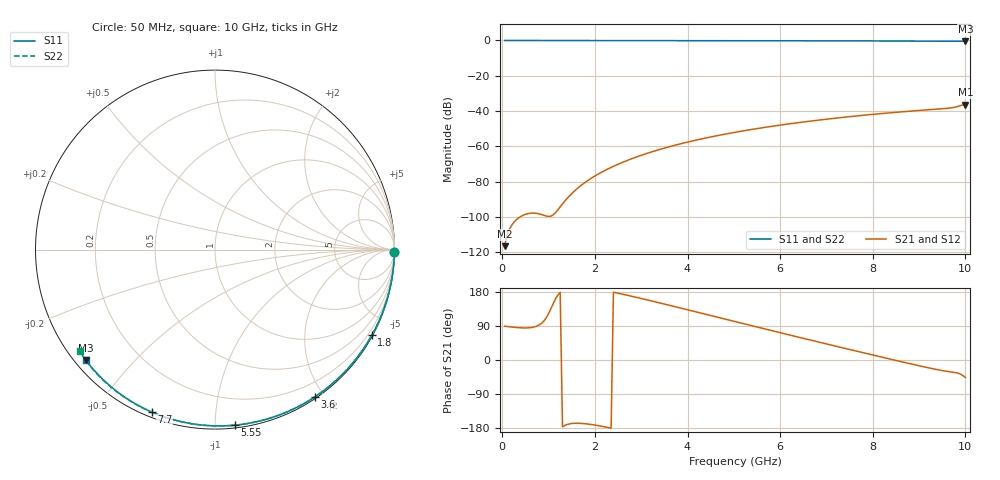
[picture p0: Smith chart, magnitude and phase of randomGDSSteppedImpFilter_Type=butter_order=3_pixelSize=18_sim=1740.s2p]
! freq	dB(S11)	phase(S11)	dB(S12)	phase(S12)
!  dB(S21)	phase(S21)	dB(S22)	phase(S22)
!S-par simulation data
#  GHz  S  DB  R 50
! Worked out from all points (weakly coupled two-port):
!   200 points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, 50 MHz to 10 GHz, reference 50 ohm
!   highest |S21| = -36.39 dB at 10 GHz (marker M1); lowest = -116.7 dB at 50 MHz (marker M2)
!   lowest |S11| = -0.5 dB at 10 GHz (marker M3), VSWR 37.51, Z = 1.51 - j18.4 ohm
!   |S11| at or under -10 dB: nowhere
!   |S22| runs from -0.5 to 0.0 dB; largest |S21 - S12| = 0
!   S11 on the Smith chart (normalised r, x): 50 MHz: open; 1.8 GHz: 0.03, -3.91; 3.6 GHz: 0.02, -1.88; 5.55 GHz: 0.02, -1.12; 7.7 GHz: 0.02, -0.68; 10 GHz: 0.03, -0.37
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0.05  -0.00 -0.8  -116.67 89.2  -116.67 89.2  -0.00 -0.8
0.5  -0.01 -8.1  -98.62 84.5  -98.62 84.5  -0.01 -8.2
0.9  -0.02 -14.5  -99.19 103.2  -99.19 103.2  -0.02 -14.7
1.75  -0.04 -27.9  -81.23 -167.7  -81.23 -167.7  -0.04 -28.3
1.8  -0.04 -28.7  -80.28 -168.3  -80.28 -168.3  -0.04 -29.1
2.2  -0.04 -34.9  -73.95 -176.1  -73.95 -176.1  -0.05 -35.4
2.55  -0.05 -40.2  -69.63 175.0  -69.63 175.0  -0.05 -40.9
2.95  -0.06 -46.3  -65.59 163.8  -65.59 163.8  -0.06 -47.0
3.4  -0.07 -53.0  -61.81 150.6  -61.81 150.6  -0.07 -53.8
3.6  -0.08 -56.0  -60.33 144.7  -60.33 144.7  -0.08 -56.8
4.3  -0.09 -66.1  -55.85 123.5  -55.85 123.5  -0.09 -67.1
5.05  -0.12 -76.6  -51.97 100.7  -51.97 100.7  -0.12 -77.8
5.55  -0.14 -83.4  -49.78 85.6  -49.78 85.6  -0.14 -84.7
6.1  -0.16 -90.8  -47.65 69.1  -47.65 69.1  -0.16 -92.2
6.7  -0.19 -98.6  -45.59 51.2  -45.59 51.2  -0.19 -100.1
7.7  -0.25 -111.3  -42.68 21.9  -42.68 21.9  -0.26 -113.1
8.35  -0.31 -119.4  -41.08 3.1  -41.08 3.1  -0.31 -121.4
9.05  -0.37 -128.0  -39.61 -16.6  -39.61 -16.6  -0.37 -130.3
9.65  -0.43 -135.3  -38.38 -30.9  -38.38 -30.9  -0.44 -138.3
9.75  -0.44 -136.5  -37.97 -32.6  -37.97 -32.6  -0.46 -139.7
9.95  -0.46 -138.9  -36.52 -41.4  -36.52 -41.4  -0.51 -142.5
10  -0.46 -139.5  -36.39 -46.0  -36.39 -46.0  -0.53 -143.2
